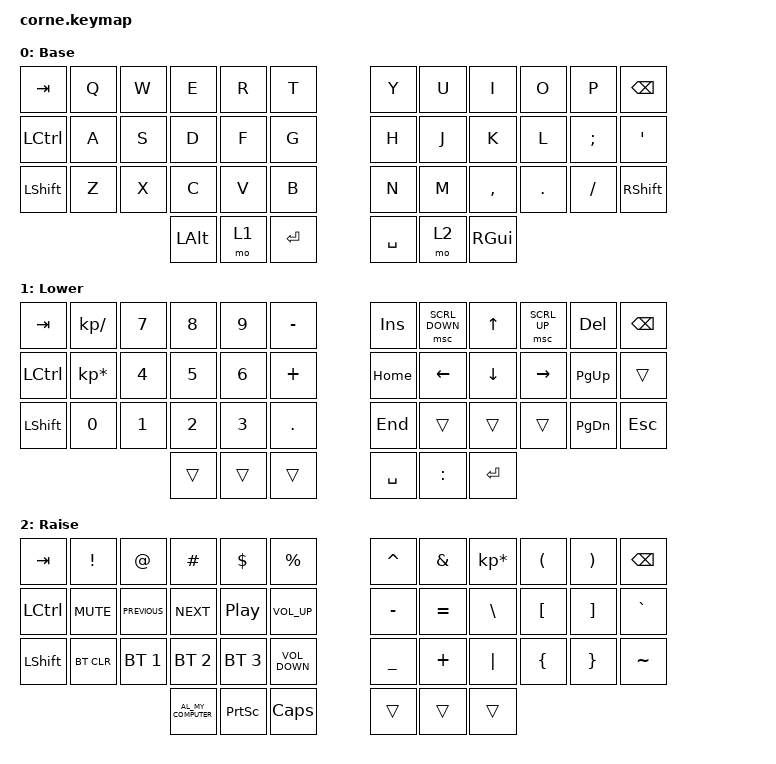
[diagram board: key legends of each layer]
/*
 * Copyright (c) 2020 The ZMK Contributors
 *
 * SPDX-License-Identifier: MIT
 */

#include <behaviors.dtsi>
#include <dt-bindings/zmk/bt.h>
#include <dt-bindings/zmk/keys.h>
#include <dt-bindings/zmk/pointing.h>

/ {
    keymap {
        compatible = "zmk,keymap";

        default_layer {
            // -----------------------------------------------------------------------------------------
            // |  TAB |  Q  |  W  |  E  |  R  |  T  |   |  Y  |  U   |  I  |  O  |  P  | BKSP |
            // | CTRL |  A  |  S  |  D  |  F  |  G  |   |  H  |  J   |  K  |  L  |  ;  |  '   |
            // | SHFT |  Z  |  X  |  C  |  V  |  B  |   |  N  |  M   |  ,  |  .  |  /  | ESC  |
            //                    | GUI | LWR | SPC |   | ENT | RSE  | ALT |

            display-name = "Base";
            bindings = <
&kp TAB    &kp Q  &kp W  &kp E         &kp R  &kp T        &kp Y      &kp U  &kp I          &kp O    &kp P     &kp BSPC
&kp LCTRL  &kp A  &kp S  &kp D         &kp F  &kp G        &kp H      &kp J  &kp K          &kp L    &kp SEMI  &kp SQT
&kp LSHFT  &kp Z  &kp X  &kp C         &kp V  &kp B        &kp N      &kp M  &kp COMMA      &kp DOT  &kp FSLH  &kp RSHIFT
                         &kp LEFT_ALT  &mo 1  &kp ENTER    &kp SPACE  &mo 2  &kp RIGHT_GUI
            >;
        };

        lower_layer {
            // -----------------------------------------------------------------------------------------
            // |  TAB |  1  |  2  |  3  |  4  |  5  |   |  6  |  7  |  8  |  9  |  0  | BKSP |
            // | BTCLR| BT1 | BT2 | BT3 | BT4 | BT5 |   | LFT | DWN |  UP | RGT |     |      |
            // | SHFT |     |     |     |     |     |   |     |     |     |     |     |      |
            //                    | GUI |     | SPC |   | ENT |     | ALT |

            display-name = "Lower";
            bindings = <
&kp TAB           &kp KP_DIVIDE    &kp N7        &kp N8        &kp N9        &kp MINUS     &kp INSERT  &msc SCRL_DOWN  &kp UP_ARROW  &msc SCRL_UP  &kp DELETE     &kp BSPC
&kp LEFT_CONTROL  &kp KP_MULTIPLY  &kp NUMBER_4  &kp N5        &kp NUMBER_6  &kp PLUS      &kp HOME    &kp LEFT        &kp DOWN      &kp RIGHT     &kp PAGE_UP    &trans
&kp LSHFT         &kp N0           &kp NUMBER_1  &kp NUMBER_2  &kp NUMBER_3  &kp PERIOD    &kp END     &trans          &trans        &trans        &kp PAGE_DOWN  &kp ESC
                                                 &trans        &trans        &trans        &kp SPACE   &kp COLON       &kp ENTER
            >;
        };

        raise_layer {
            // -----------------------------------------------------------------------------------------
            // |  TAB |  !  |  @  |  #  |  $  |  %  |   |  ^  |  &  |  *  |  (  |  )  | BKSP |
            // | CTRL |     |     |     |     |     |   |  -  |  =  |  [  |  ]  |  \  |  `   |
            // | SHFT |     |     |     |     |     |   |  _  |  +  |  {  |  }  | "|" |  ~   |
            //                    | GUI |     | SPC |   | ENT |     | ALT |

            display-name = "Raise";
            bindings = <
&kp TAB    &kp EXCLAMATION  &kp AT          &kp HASH              &kp DLLR          &kp PRCNT            &kp CARET  &kp AMPS   &kp KP_MULTIPLY  &kp LPAR          &kp RPAR           &kp BSPC
&kp LCTRL  &kp K_MUTE       &kp C_PREVIOUS  &kp C_NEXT            &kp C_PLAY_PAUSE  &kp C_VOLUME_UP      &kp MINUS  &kp EQUAL  &kp BACKSLASH    &kp LEFT_BRACKET  &kp RIGHT_BRACKET  &kp GRAVE
&kp LSHFT  &bt BT_CLR       &bt BT_SEL 1    &bt BT_SEL 2          &bt BT_SEL 3      &kp C_VOLUME_DOWN    &kp UNDER  &kp PLUS   &kp PIPE         &kp LEFT_BRACE    &kp RIGHT_BRACE    &kp TILDE
                                            &kp C_AL_MY_COMPUTER  &kp PRINTSCREEN   &kp CAPSLOCK         &trans     &trans     &trans
            >;
        };

        extra_1 { status = "reserved"; };

        extra_2 { status = "reserved"; };

        extra_3 { status = "reserved"; };
    };
};
